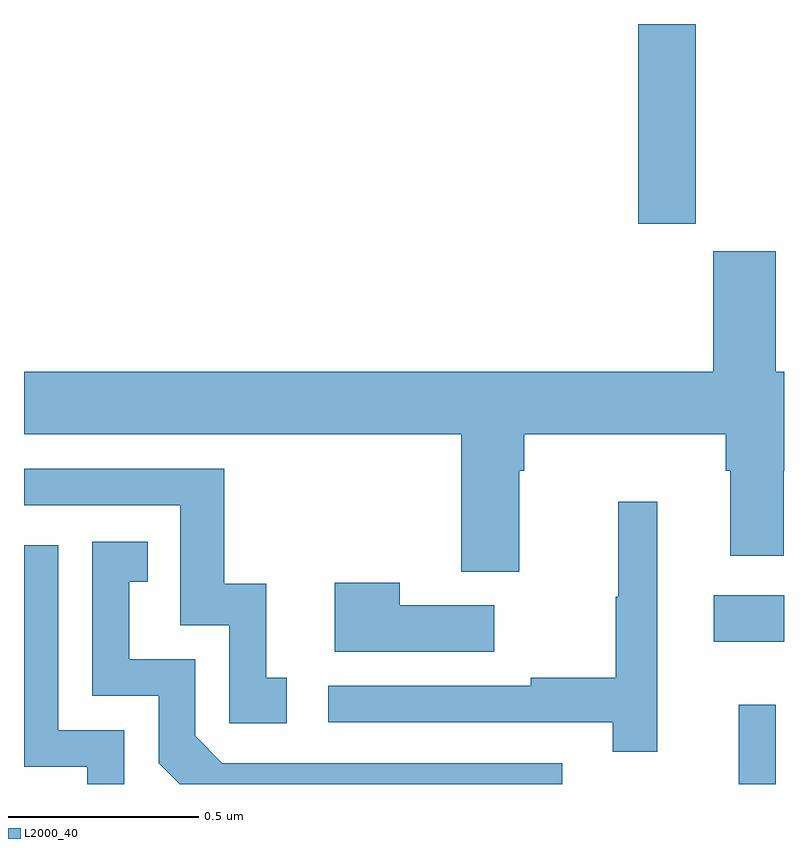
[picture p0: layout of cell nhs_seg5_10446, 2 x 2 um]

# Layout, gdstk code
import gdstk
lib = gdstk.Library(unit=1e-6, precision=1e-09)
def R(c, l, rs):  # rectangles x0, y0, x1, y1
    for r in rs: c.add(gdstk.rectangle(r[:2], r[2:], *l))
def P(c, l, *ps):  # polygons
    for p in ps: c.add(gdstk.Polygon(p, *l))
L2000_40 = (2000, 40)

nhs_seg5_10446 = lib.new_cell('nhs_seg5_10446')
R(nhs_seg5_10446, L2000_40, [(247.881,895.799,247.978,896.008), (247.815,896.174,248,896.296), (247.616,897.273,247.768,897.799)])
P(nhs_seg5_10446, L2000_40, [(247.303,896.624),(247.316,896.624),(247.316,896.72),(247.847,896.72),(247.847,896.624),(247.859,896.624),(247.859,896.4),(247.999,896.4),(247.999,896.624),(248,896.624),(248,896.884),(247.978,896.884),(247.978,897.201),(247.814,897.201),(247.814,896.884),(246,896.884),(246,896.72),(247.151,896.72),(247.151,896.358),(247.303,896.358)],
  [(246.691,896.079),(246.638,896.079),(246.638,896.326),(246.527,896.326),(246.527,896.628),(246,896.628),(246,896.532),(246.411,896.532),(246.411,896.217),(246.54,896.217),(246.54,895.959),(246.691,895.959)],
  [(247.666,896.542),(247.564,896.542),(247.564,896.292),(247.557,896.292),(247.557,896.078),(247.333,896.078),(247.333,896.058),(246.801,896.058),(246.801,895.962),(247.549,895.962),(247.549,895.884),(247.666,895.884)],
  [(247.416,895.854),(246.522,895.854),(246.45,895.926),(246.45,896.127),(246.277,896.127),(246.277,896.331),(246.326,896.331),(246.326,896.437),(246.18,896.437),(246.18,896.031),(246.354,896.031),(246.354,895.854),(246.41,895.799),(247.416,895.799)],
  [(246.264,895.941),(246.09,895.941),(246.09,896.427),(246,896.427),(246,895.845),(246.167,895.845),(246.167,895.799),(246.264,895.799)],
  [(247.237,896.269),(246.989,896.269),(246.989,896.329),(246.818,896.329),(246.818,896.147),(247.237,896.147)])

lib.write_gds('nhs_seg5_10446.gds')
